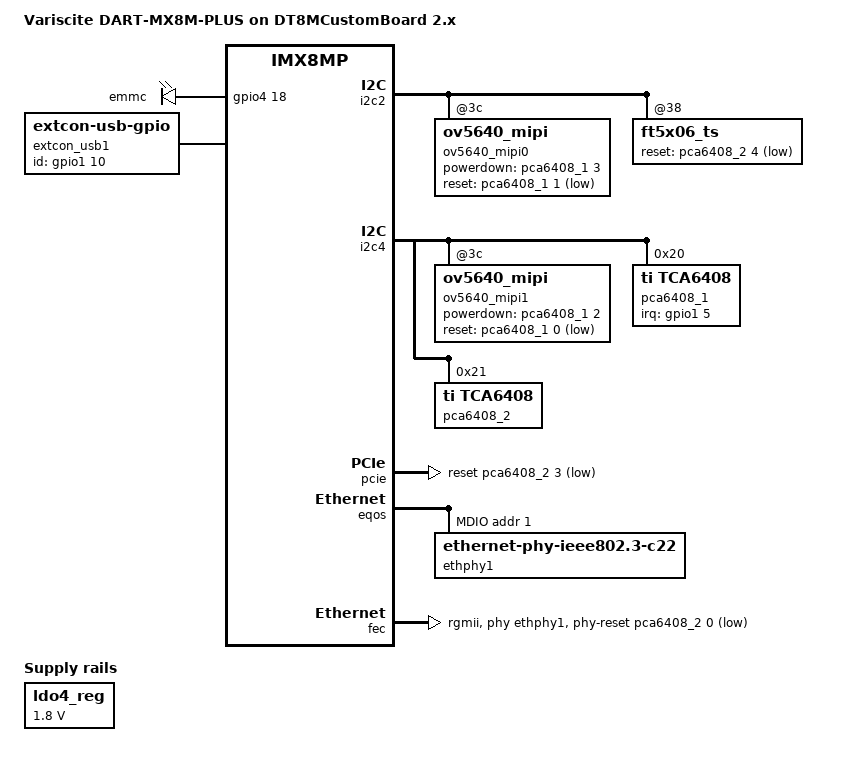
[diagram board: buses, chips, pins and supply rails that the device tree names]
// SPDX-License-Identifier: (GPL-2.0+ OR MIT)
/*
 * Copyright 2019 NXP
 * Copyright 2020-2021 Variscite Ltd.
 */

#include "imx8mp-var-dart.dtsi"
#include "imx8mp-var-dart-dt8mcustomboard-common.dtsi"

/ {
	model = "Variscite DART-MX8M-PLUS on DT8MCustomBoard 2.x";

	gpio-keys {

		up {
			gpios = <&pca6408_1 5 GPIO_ACTIVE_LOW>;
		};

		down {
			gpios = <&pca6408_1 6 GPIO_ACTIVE_LOW>;
		};

		home {
			gpios = <&pca6408_1 4 GPIO_ACTIVE_LOW>;
		};

		back {
			gpios = <&pca6408_1 7 GPIO_ACTIVE_LOW>;
		};
	};

	leds {
		emmc {
			gpios = <&gpio4 18 GPIO_ACTIVE_HIGH>;
		};
	};

	extcon_usb1: extcon_usb1 {
		compatible = "linux,extcon-usb-gpio";
		pinctrl-names = "default";
		pinctrl-0 = <&pinctrl_extcon>;
		id-gpio = <&gpio1 10 GPIO_ACTIVE_HIGH>;
		status = "okay";
	};

	can0_osc: can0_osc {
		clock-frequency = <40000000>;
	};
};

&i2c2 {
	ov5640_mipi0: ov5640_mipi@3c {
		powerdown-gpios = <&pca6408_1 3 GPIO_ACTIVE_HIGH>;
		reset-gpios = <&pca6408_1 1 GPIO_ACTIVE_LOW>;
	};

	ft5x06_ts: ft5x06_ts@38 {
		reset-gpios = <&pca6408_2 4 GPIO_ACTIVE_LOW>;
	};

};

&i2c4 {
	ov5640_mipi1: ov5640_mipi@3c {
		powerdown-gpios = <&pca6408_1 2 GPIO_ACTIVE_HIGH>;
		reset-gpios = <&pca6408_1 0 GPIO_ACTIVE_LOW>;
	};

	pca6408_1: gpio@20 {
		compatible = "ti,tca6408";
		reg = <0x20>;
		gpio-controller;
		#gpio-cells = <2>;
		pinctrl-names = "default";
		pinctrl-0 = <&pinctrl_pca6408>;
		interrupt-parent = <&gpio1>;
		interrupts = <5 IRQ_TYPE_EDGE_FALLING>;
	};

	pca6408_2: gpio@21 {
		compatible = "ti,tca6408";
		reg = <0x21>;
		gpio-controller;
		#gpio-cells = <2>;
	};
};

&pcie {
	reset-gpio = <&pca6408_2 3 GPIO_ACTIVE_LOW>;
};

&usb_dwc3_0 {
	extcon = <&extcon_usb1>;
};

&can0 {
	spi-max-frequency = <20000000>;
	microchip,rx-int-gpios = <&gpio5 4 GPIO_ACTIVE_LOW>;
};

&eqos {
	mdio {
		ethphy1: ethernet-phy@1 {
			compatible = "ethernet-phy-ieee802.3-c22";
			reg = <1>;
			at803x,eee-disabled;
			at803x,vddio-1p8v;
			eee-broken-1000t;
		};
	};
};

&fec {
	pinctrl-names = "default";
	pinctrl-0 = <&pinctrl_fec>;
	phy-mode = "rgmii";
	phy-handle = <&ethphy1>;
	phy-reset-gpios = <&pca6408_2 0 GPIO_ACTIVE_LOW>;
	phy-reset-duration = <10>;
	phy-reset-post-delay = <100>;
	status = "okay";
};

&ldo4_reg {
	regulator-min-microvolt = <1800000>;
	regulator-max-microvolt = <1800000>;
};

&iomuxc {
	pinctrl_flexcan1: flexcan1grp {
		fsl,pins = <
			MX8MP_IOMUXC_SAI2_RXC__CAN1_TX					0x154
			MX8MP_IOMUXC_SAI2_TXC__CAN1_RX					0x154
		>;
	};

	pinctrl_flexcan2: flexcan2grp {
		fsl,pins = <
			MX8MP_IOMUXC_SAI2_MCLK__CAN2_RX					0x154
			MX8MP_IOMUXC_SAI2_TXD0__CAN2_TX					0x154
		>;
	};

	pinctrl_captouch: captouchgrp {
		fsl,pins = <
			MX8MP_IOMUXC_GPIO1_IO14__GPIO1_IO14				0x16
		>;
	};

	pinctrl_extcon: extcongrp {
		fsl,pins = <
			MX8MP_IOMUXC_GPIO1_IO10__GPIO1_IO10				0x19
		>;
	};

	pinctrl_can: cangrp {
		fsl,pins = <
			MX8MP_IOMUXC_GPIO1_IO06__GPIO1_IO06				0x1c6
			MX8MP_IOMUXC_SPDIF_RX__GPIO5_IO04				0x16
		>;
	};

	pinctrl_pca6408: pca6408grp {
		fsl,pins = <
			MX8MP_IOMUXC_GPIO1_IO05__GPIO1_IO05				0x1c6
		>;
	};

	pinctrl_gpio_leds: ledgrp {
		fsl,pins = <
			MX8MP_IOMUXC_SAI1_TXD6__GPIO4_IO18				0xc6
		>;
	};

	pinctrl_fec: fecgrp {
		fsl,pins = <
			MX8MP_IOMUXC_SAI1_RXD4__ENET1_RGMII_RD0				0x91
			MX8MP_IOMUXC_SAI1_RXD5__ENET1_RGMII_RD1				0x91
			MX8MP_IOMUXC_SAI1_RXD6__ENET1_RGMII_RD2				0x91
			MX8MP_IOMUXC_SAI1_RXD7__ENET1_RGMII_RD3				0x91
			MX8MP_IOMUXC_SAI1_TXC__ENET1_RGMII_RXC				0x91
			MX8MP_IOMUXC_SAI1_TXFS__ENET1_RGMII_RX_CTL			0x91
			MX8MP_IOMUXC_SAI1_TXD0__ENET1_RGMII_TD0				0x00
			MX8MP_IOMUXC_SAI1_TXD1__ENET1_RGMII_TD1				0x00
			MX8MP_IOMUXC_SAI1_TXD2__ENET1_RGMII_TD2				0x00
			MX8MP_IOMUXC_SAI1_TXD3__ENET1_RGMII_TD3				0x00
			MX8MP_IOMUXC_SAI1_TXD4__ENET1_RGMII_TX_CTL			0x00
			MX8MP_IOMUXC_SAI1_TXD5__ENET1_RGMII_TXC				0x00
		>;
	};
};
